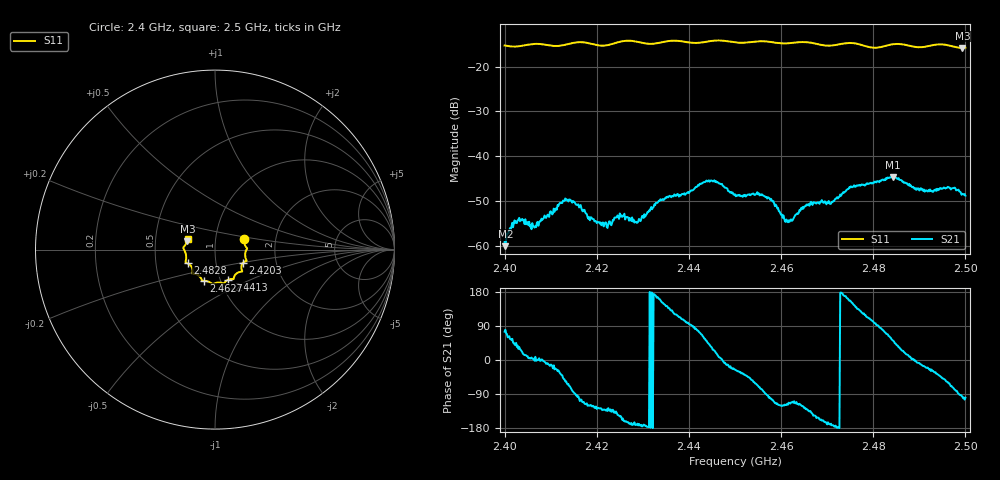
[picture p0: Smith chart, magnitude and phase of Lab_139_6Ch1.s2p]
# Hz S RI R 50
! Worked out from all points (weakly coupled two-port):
!   601 points, 2.4 GHz to 2.5 GHz, reference 50 ohm
!   highest |S21| = -44.69 dB at 2.4843 GHz (marker M1); lowest = -60.1 dB at 2.4002 GHz (marker M2)
!   lowest |S11| = -15.8 dB at 2.4993 GHz (marker M3), VSWR 1.38, Z = 36.5 + j3.61 ohm
!   |S11| at or under -10 dB: start of sweep to end of sweep
!   S12 and S22 are empty: the file has one direction only
!   S11 on the Smith chart (normalised r, x): 2.4 GHz: 1.37, +0.17; 2.4203 GHz: 1.35, -0.20; 2.4413 GHz: 1.09, -0.38; 2.4627 GHz: 0.83, -0.30; 2.4828 GHz: 0.73, -0.11; 2.5 GHz: 0.73, +0.09
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2.4e9  0.1616 0.0584  0.000287 0.00106  0 0  0 0
2.400167e9  0.1615 0.057  0.000171 0.000969  0 0  0 0
2.402667e9  0.1649 0.0291  0.00147 0.001  0 0  0 0
2.406333e9  0.1786 0.0084  0.00164 9.93e-05  0 0  0 0
2.413167e9  0.1696 -0.0433  0.00186 -0.00279  0 0  0 0
2.416667e9  0.1765 -0.0623  -0.000671 -0.00251  0 0  0 0
2.420333e9  0.1561 -0.073  -0.00108 -0.00147  0 0  0 0
2.4255e9  0.1509 -0.1178  -0.00193 -0.0008  0 0  0 0
2.429e9  0.1423 -0.1232  -0.00184 -0.000236  0 0  0 0
2.433333e9  0.1077 -0.1479  -0.00298 0.000822  0 0  0 0
2.441333e9  0.0751 -0.1674  0.000643 0.00436  0 0  0 0
2.445333e9  0.051 -0.1876  0.00465 0.00236  0 0  0 0
2.45e9  0.0304 -0.1837  0.00338 -0.00159  0 0  0 0
2.456e9  -0.0125 -0.1911  0.000641 -0.00359  0 0  0 0
2.461167e9  -0.0489 -0.1746  -0.000938 -0.00171  0 0  0 0
2.462667e9  -0.0615 -0.1739  -0.000773 -0.00183  0 0  0 0
2.466667e9  -0.0743 -0.168  -0.00223 -0.00187  0 0  0 0
2.482833e9  -0.1528 -0.0767  0.00204 0.00533  0 0  0 0
2.483333e9  -0.1565 -0.0751  0.00254 0.00508  0 0  0 0
2.484333e9  -0.1619 -0.0731  0.00369 0.00451  0 0  0 0
2.499333e9  -0.154 0.0481  -0.000407 -0.00377  0 0  0 0
2.5e9  -0.1522 0.0573  -0.000595 -0.00356  0 0  0 0
